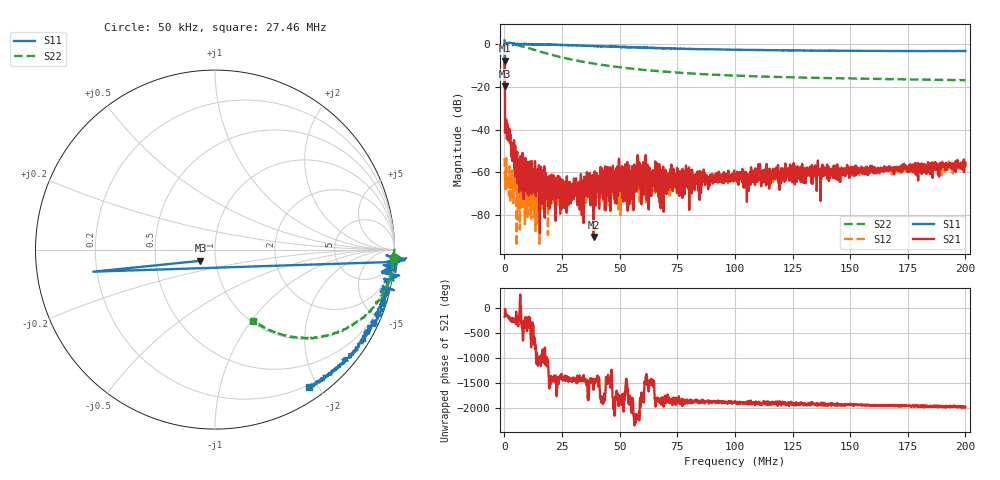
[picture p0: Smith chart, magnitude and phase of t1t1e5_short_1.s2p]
! 27-Aug-26 2:25:10 PM
! E:\20260827_VNA\T1T1E5_SHORT_1.S2P
! CHANNEL.1
! TR.MEASUREMENT
! CORRECTED.DATA
# GHZ S RI R 50.0
! FREQ.GHZ  S11RE  S11IM  S21RE  S21IM  S12RE  S12IM  S22RE  S22IM
!; PortSelection: Port_12
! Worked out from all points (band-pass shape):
!   2000 points, 50 kHz to 200 MHz, reference 50 ohm
!   highest |S21| = -7.95 dB at 50 kHz (marker M1); lowest = -90.1 dB at 38.66 MHz (marker M2)
!   |S21| within 3 dB of the highest: start of sweep to 130.6 kHz
!   lowest |S11| = -19.8 dB at 150 kHz (marker M3), VSWR 1.23, Z = 42.2 - j5.33 ohm
!   |S11| at or under -10 dB: 104.1 kHz to 209.2 kHz (105.1 kHz wide, 67.1 % of centre)
!   |S22| runs from -17.0 to 0.0 dB; largest |S21 - S12| = 0.4
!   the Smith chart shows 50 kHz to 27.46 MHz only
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5e-05  0.6071 1.03  -0.3872 -0.1023  -0.00208 -0.000529  0.9968 -0.0462
0.000150025  -0.0811 -0.0625  -0.2367 -0.1099  0.000867 -0.00105  0.9993 -0.000492
0.0012503  1.003 -0.0333  -0.0068 -0.00361  7.66e-05 0.000463  0.9931 -0.091
0.004151026  0.9948 -0.1474  -0.00145 0.00548  -6.24e-05 -0.000391  0.9189 -0.2794
0.006051501  0.9462 -0.2179  0.000292 0.000566  -0.000241 -1.51e-05  0.8355 -0.3666
0.007351826  0.9473 -0.264  0.000605 0.000789  -4.16e-05 0.000247  0.7691 -0.4178
0.01425355  0.8437 -0.4685  0.00107 0.0005  0.000176 0.000258  0.4809 -0.4907
0.0164541  0.8008 -0.53  -0.000209 0.000323  -0.000162 -2.96e-05  0.412 -0.4833
0.01905475  0.7521 -0.5961  -0.000686 -0.000185  0.000166 0.000114  0.3451 -0.4652
0.03345835  0.3733 -0.8246  0.000449 -3.9e-06  0.000376 9.6e-05  0.1611 -0.3517
0.036059  0.3053 -0.8386  0.000452 0.000572  0.000298 0.000103  0.1453 -0.334
0.03865966  0.2305 -0.858  -2.93e-05 1.05e-05  0.000328 -7.91e-05  0.1309 -0.3197
0.04266065  0.1275 -0.8623  0.000896 -5.3e-05  0.00048 -1.5e-06  0.1136 -0.2995
0.04826206  -0.00403 -0.858  0.000485 -3.64e-05  0.00041 -0.00028  0.0956 -0.2755
0.05046261  -0.0552 -0.8456  0.00106 0.000575  0.00061 -0.000137  0.0894 -0.2673
0.05436358  -0.1458 -0.8156  0.000492 0.000429  0.000415 -0.000568  0.0804 -0.2546
0.05786446  -0.2256 -0.7958  0.00152 -0.000595  0.000311 0.000147  0.0735 -0.2445
0.06676668  -0.3646 -0.709  0.000229 -0.000146  0.000409 -0.000642  0.0589 -0.2224
0.100075  -0.666 -0.2907  -5.44e-05 -0.000778  -4.5e-06 -0.000735  0.0229 -0.1798
0.1333833  -0.6907 0.0844  -0.000633 -0.00136  -0.00071 -0.00105  -0.00382 -0.1614
0.1666917  -0.5698 0.3749  -0.00132 -0.000411  -0.00104 -0.000388  -0.0293 -0.1472
0.2  -0.374 0.5657  -0.00143 5.68e-05  -0.00177 0.000152  -0.0559 -0.1307
